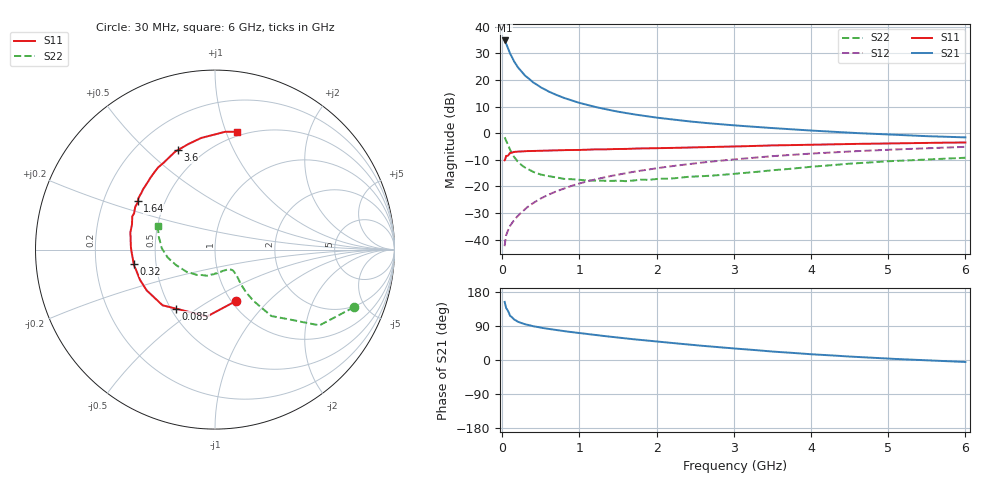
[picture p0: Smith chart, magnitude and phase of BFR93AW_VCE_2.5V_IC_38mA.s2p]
! Infineon Technologies  Discrete & RF Semiconductors
! BFR93AW
! VCE =  2.5 V,  IC =  38 mA
! Common Emitter S-Parameters:  Nov 2015
# GHz  S  MA  R  50
!  f  S11  S21  S12  S22
! GHz  MAG  ANG  MAG  ANG  MAG  ANG  MAG  ANG
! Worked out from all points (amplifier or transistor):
!   206 points, 30 MHz to 6 GHz, reference 50 ohm
!   highest |S21| = 34.9 dB at 30 MHz (marker M1)
!   |S21| within 3 dB of that: start of sweep to 75.03 MHz
!   unconditionally stable (mu >= 1): 384.8 MHz to 2.287 GHz
!   at 200 MHz: K = 0.87, MSG = 28.0 dB, |S12| = -31.2 dB
!   at 1.56 GHz: K = 1.04, MAG = 10.3 dB, |S12| = -15.3 dB
!   at 6 GHz: K = 0.93, MSG = 1.8 dB, |S12| = -5.1 dB
!   S11 on the Smith chart (normalised r, x): 30 MHz: 1.05, -0.66; 85 MHz: 0.53, -0.41; 320 MHz: 0.37, -0.07; 1.64 GHz: 0.35, +0.25; 3.6 GHz: 0.37, +0.63; 6 GHz: 0.46, +1.09
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0.03  0.3094 -67.8  55.33 153.3  0.0075 71.1  0.8382 -22.5
0.05  0.3746 -96.7  47.93 137.0  0.012 67.7  0.7192 -35.9
0.085  0.3944 -123.5  35.97 124.8  0.0161 65.1  0.5516 -44.3
0.1  0.4263 -133.3  31.6 116.9  0.0179 64.3  0.4853 -49.7
0.15  0.4434 -149.2  22.58 107.2  0.0228 64.6  0.3599 -53.1
0.2  0.4509 -158.2  17.46 101.2  0.0277 67.2  0.2928 -54.0
0.26  0.4541 -165.5  13.7 96.6  0.0335 69.2  0.2434 -53.1
0.3  0.4599 -168.9  11.89 94.0  0.0381 70.6  0.2233 -52.3
0.32  0.4599 -170.3  11.31 93.2  0.0401 71.0  0.2161 -51.9
0.4  0.4624 -175.8  8.999 89.1  0.0484 72.4  0.1874 -50.0
0.5  0.4681 179.2  7.257 85.2  0.0593 73.1  0.1662 -49.4
0.6  0.4712 175.7  6.071 82.0  0.0697 73.5  0.155 -49.1
0.8  0.4812 168.7  4.594 76.1  0.0907 73.5  0.138 -52.6
1.04  0.4859 162.0  3.578 70.0  0.1175 72.2  0.1312 -58.0
1.3  0.494 155.8  2.898 63.7  0.1451 70.3  0.1275 -65.1
1.64  0.5078 147.9  2.34 56.1  0.181 67.4  0.1264 -79.6
2.02  0.5234 139.8  1.944 48.2  0.2211 64.0  0.1385 -93.8
3.1  0.566 119.1  1.37 29.0  0.3298 52.8  0.1767 -128.6
3.6  0.5912 110.6  1.219 21.0  0.3778 47.3  0.2058 -145.6
4.1  0.6098 102.7  1.099 14.1  0.4205 41.7  0.2391 -161.0
5.1  0.6428 89.6  0.93 2.7  0.4944 30.7  0.3003 176.2
6  0.668 79.4  0.833 -5.2  0.5528 21.6  0.3449 157.7
